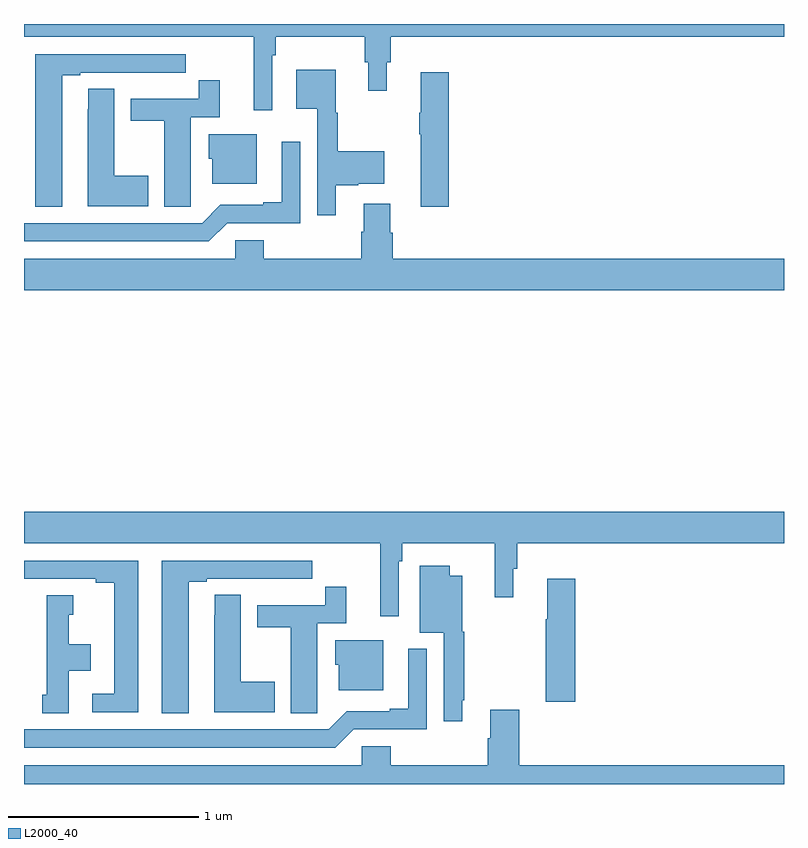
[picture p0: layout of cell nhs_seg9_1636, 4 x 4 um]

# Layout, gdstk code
import gdstk
lib = gdstk.Library(unit=1e-6, precision=1e-09)
def P(c, l, *ps):  # polygons
    for p in ps: c.add(gdstk.Polygon(p, *l))
L2000_40 = (2000, 40)

nhs_seg9_1636 = lib.new_cell('nhs_seg9_1636')
P(nhs_seg9_1636, L2000_40, [(204.306,1184.336),(204.326,1184.336),(204.326,1184.432),(204.793,1184.432),(204.793,1184.298),(204.812,1184.298),(204.812,1184.148),(204.91,1184.148),(204.91,1184.298),(204.929,1184.298),(204.929,1184.432),(207,1184.432),(207,1184.5),(203,1184.5),(203,1184.432),(204.209,1184.432),(204.209,1184.046),(204.306,1184.046)],
  [(203.2,1184.229),(203.296,1184.229),(203.296,1184.244),(203.572,1184.244),(203.572,1184.243),(203.738,1184.243),(203.738,1184.244),(203.851,1184.244),(203.851,1184.34),(203.06,1184.34),(203.06,1183.537),(203.2,1183.537)],
  [(204.64,1183.651),(204.759,1183.651),(204.759,1183.658),(204.895,1183.658),(204.895,1183.829),(204.652,1183.829),(204.652,1184.034),(204.64,1184.034),(204.64,1184.26),(204.434,1184.26),(204.434,1184.054),(204.543,1184.054),(204.543,1183.494),(204.64,1183.494)],
  [(205.235,1184.245),(205.088,1184.245),(205.088,1184.032),(205.081,1184.032),(205.081,1183.92),(205.088,1183.92),(205.088,1183.539),(205.235,1183.539)],
  [(203.877,1183.648),(203.878,1183.648),(203.878,1184.01),(204.029,1184.01),(204.029,1184.203),(203.92,1184.203),(203.92,1184.106),(203.561,1184.106),(203.561,1183.99),(203.738,1183.99),(203.738,1183.537),(203.877,1183.537)],
  [(203.653,1183.701),(203.476,1183.701),(203.476,1184.159),(203.337,1184.159),(203.337,1184.051),(203.336,1184.051),(203.336,1183.541),(203.653,1183.541)],
  [(204.226,1183.921),(203.972,1183.921),(203.972,1183.791),(203.99,1183.791),(203.99,1183.658),(204.226,1183.658)],
  [(204.069,1183.452),(204.453,1183.452),(204.453,1183.879),(204.356,1183.879),(204.356,1183.561),(204.26,1183.561),(204.26,1183.548),(204.033,1183.548),(203.937,1183.452),(203,1183.452),(203,1183.356),(203.973,1183.356)],
  [(207,1183.264),(204.941,1183.264),(204.941,1183.401),(204.928,1183.401),(204.928,1183.555),(204.788,1183.555),(204.788,1183.406),(204.776,1183.406),(204.776,1183.264),(204.263,1183.264),(204.263,1183.362),(204.111,1183.362),(204.111,1183.264),(203,1183.264),(203,1183.1),(207,1183.1)],
  [(203,1181.768),(204.875,1181.768),(204.875,1181.382),(204.972,1181.382),(204.972,1181.672),(204.992,1181.672),(204.992,1181.768),(205.477,1181.768),(205.477,1181.484),(205.576,1181.484),(205.576,1181.634),(205.595,1181.634),(205.595,1181.768),(207,1181.768),(207,1181.932),(203,1181.932)],
  [(203.602,1181.676),(203,1181.676),(203,1181.58),(203.378,1181.58),(203.378,1181.56),(203.474,1181.56),(203.474,1180.974),(203.358,1180.974),(203.358,1180.878),(203.602,1180.878)],
  [(203.866,1181.565),(203.962,1181.565),(203.962,1181.58),(204.238,1181.58),(204.238,1181.579),(204.404,1181.579),(204.404,1181.58),(204.517,1181.58),(204.517,1181.676),(203.726,1181.676),(203.726,1180.873),(203.866,1180.873)],
  [(205.306,1180.942),(205.318,1180.942),(205.318,1181.301),(205.306,1181.301),(205.306,1181.596),(205.24,1181.596),(205.24,1181.65),(205.082,1181.65),(205.082,1181.297),(205.209,1181.297),(205.209,1180.83),(205.306,1180.83)],
  [(205.901,1181.581),(205.754,1181.581),(205.754,1181.368),(205.747,1181.368),(205.747,1180.932),(205.901,1180.932)],
  [(204.543,1180.984),(204.544,1180.984),(204.544,1181.346),(204.695,1181.346),(204.695,1181.539),(204.586,1181.539),(204.586,1181.442),(204.227,1181.442),(204.227,1181.326),(204.404,1181.326),(204.404,1180.873),(204.543,1180.873)],
  [(204.319,1181.037),(204.142,1181.037),(204.142,1181.495),(204.003,1181.495),(204.003,1181.387),(204.002,1181.387),(204.002,1180.877),(204.319,1180.877)],
  [(203.236,1181.096),(203.35,1181.096),(203.35,1181.236),(203.236,1181.236),(203.236,1181.391),(203.26,1181.391),(203.26,1181.494),(203.12,1181.494),(203.12,1180.971),(203.096,1180.971),(203.096,1180.873),(203.236,1180.873)],
  [(204.892,1181.257),(204.638,1181.257),(204.638,1181.127),(204.656,1181.127),(204.656,1180.994),(204.892,1180.994)],
  [(204.735,1180.788),(205.119,1180.788),(205.119,1181.212),(205.022,1181.212),(205.022,1180.897),(204.926,1180.897),(204.926,1180.884),(204.699,1180.884),(204.603,1180.788),(203,1180.788),(203,1180.692),(204.639,1180.692)],
  [(207,1180.6),(205.607,1180.6),(205.607,1180.891),(205.454,1180.891),(205.454,1180.742),(205.442,1180.742),(205.442,1180.6),(204.929,1180.6),(204.929,1180.698),(204.777,1180.698),(204.777,1180.6),(203,1180.6),(203,1180.5),(207,1180.5)])

lib.write_gds('nhs_seg9_1636.gds')
